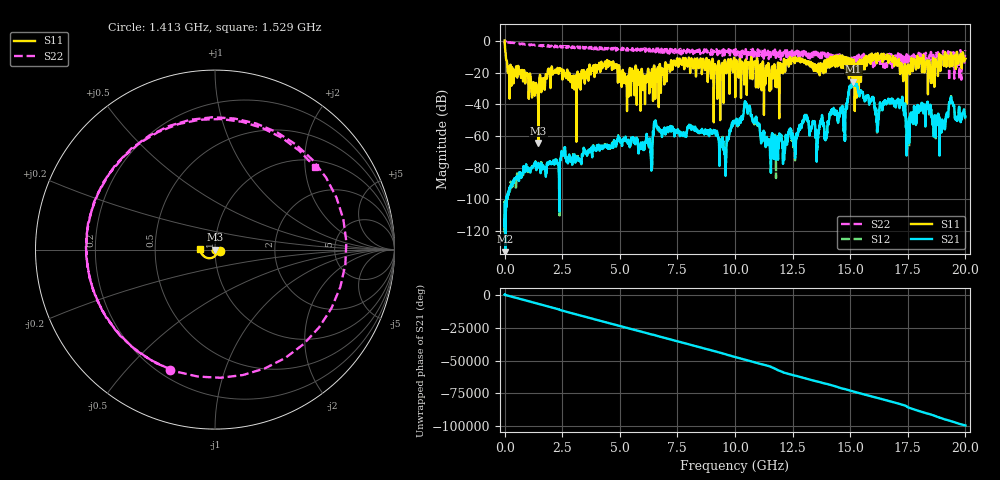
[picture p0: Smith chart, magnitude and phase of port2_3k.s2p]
! MS46122B
! 2250307/22442219
! 8/1/2025 10:30:29 AM
! C:\USERS\SPARKY\DOCUMENTS\VNA_DATA\AUGUST1_2025\3K\PORT2.S2P
! CHANNEL.1
! TR.MEASUREMENT
! RAW.DATA
# GHZ S RI R 50.0
! FREQ.GHZ  S11RE  S11IM  S21RE  S21IM  S12RE  S12IM  S22RE  S22IM
!; PortSelection: Port_12
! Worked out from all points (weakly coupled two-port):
!   10001 points, 1 MHz to 20 GHz, reference 50 ohm
!   highest |S21| = -25.70 dB at 15.13 GHz (marker M1); lowest = -133.0 dB at 29 MHz (marker M2)
!   lowest |S11| = -64.3 dB at 1.469 GHz (marker M3), VSWR 1.00, Z = 50 - j0.0515 ohm
!   |S11| at or under -10 dB: 52.33 MHz to 14.14 GHz (14.09 GHz wide, 199 % of centre); 14.74 GHz to 15.66 GHz (925.5 MHz wide, 6.09 % of centre); 16.88 GHz to 17.9 GHz (1.023 GHz wide, 5.88 % of centre) (the widest 3 of 36)
!   |S22| runs from -24.9 to 0.1 dB; largest |S21 - S12| = 0.0036
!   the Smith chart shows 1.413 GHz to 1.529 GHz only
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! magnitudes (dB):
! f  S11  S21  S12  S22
! 1 MHz  0.4  -103.3  -102.4  -0.1
! 29 MHz  -5.8  -133.0  -112.5  -0.5
! 217 MHz  -29.6  -92.6  -94.4  -0.8
! 1.469 GHz  -64.3  -77.6  -77.1  -2.8
! 3.335 GHz  -19.1  -77.5  -77.8  -4.3
! 6.321 GHz  -20.2  -65.1  -65.4  -6.5
! 6.669 GHz  -18.8  -54.7  -55.1  -4.7
! 9.579 GHz  -13.2  -78.5  -78.6  -6.1
! 10 GHz  -18.8  -50.6  -51.2  -7.2
! 10.5 GHz  -18.9  -40.6  -40.5  -9.8
! 11.77 GHz  -22.2  -68.9  -69.8  -10.2
! 13.33 GHz  -16.7  -54.0  -54.3  -9.0
! 14.77 GHz  -16.2  -63.1  -62.7  -8.9
! 15.13 GHz  -15.1  -25.7  -25.7  -12.0
! 16.16 GHz  -10.3  -53.8  -54.5  -10.7
! 16.67 GHz  -12.4  -37.3  -37.6  -12.9
! 17.28 GHz  -20.8  -39.4  -39.4  -12.1
! 17.51 GHz  -15.0  -52.8  -53.0  -9.2
! 18.07 GHz  -10.9  -42.4  -42.2  -8.4
! 18.97 GHz  -9.2  -54.2  -54.1  -10.7
! 19.38 GHz  -7.2  -35.3  -34.8  -15.6
! 20 GHz  -11.1  -47.6  -48.3  -5.9
